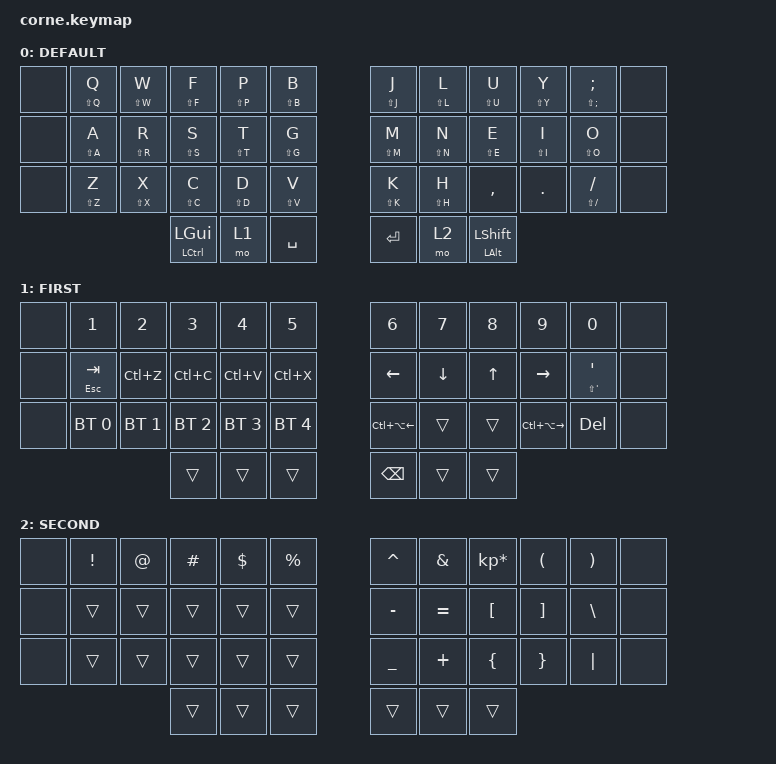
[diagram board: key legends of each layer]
/*
 * Copyright (c) 2020 The ZMK Contributors
 *
 * SPDX-License-Identifier: MIT
 */

#include <behaviors.dtsi>
#include <dt-bindings/zmk/keys.h>
#include <dt-bindings/zmk/bt.h>

#define DEFAULT 0
#define FIRST   1
#define SECOND   2
#define COLEMAK 3

#define MO_TOG(layer) &mo_tog layer layer   // Macro to apply momentary-layer-on-hold/toggle-layer-on-tap to a specific layer


/ {
        behaviors {
        pht: positional_hold_tap {
            compatible = "zmk,behavior-hold-tap";
            label = "POSITIONAL_HOLD_TAP";
            #binding-cells = <2>;
            flavor = "hold-preferred";
            tapping-term-ms = <400>;
            quick-tap-ms = <200>;
            bindings = <&kp>, <&kp>;
            hold-trigger-key-positions = <1>;    // <---[[the W key]]
        };

        mo_tog: behavior_mo_tog {
            compatible = "zmk,behavior-hold-tap";
            label = "mo_tog";
            #binding-cells = <2>;
            flavor = "hold-preferred";
            tapping-term-ms = <200>;
            bindings = <&mo>, <&tog>;
        };
    };
        keymap {
                compatible = "zmk,keymap";

//                DEFAULT {
// -----------------------------------------------------------------------------------------
// |      |  Q  |  W  |  E  |  R  |  T  |   |  Y  |  U   |  I  |  O  |  P  |      |
// |      |  A  |  S  |  D  |  F  |  G  |   |  H  |  J   |  K  |  L  |  ;  |      |
// |      |  Z  |  X  |  C  |  V  |  B  |   |  N  |  M   |  ,  |  .  |  /  |      |
//               | GUI/CTRL |FIRST| SPC |   | ENT/BKSP |SECOND| ALT/SHFT |
//                        bindings = <
//   &none &pht LS(Q) Q &pht LS(W) W &pht LS(E) E &pht LS(R) R &pht LS(T) T   &pht LS(Y) Y &pht LS(U) U  &pht LS(I) I     &pht LS(O) O   &pht LS(P) P    &none
//   &none &pht LS(A) A &pht LS(S) S &pht LS(D) D &pht LS(F) F &pht LS(G) G   &pht LS(H) H &pht LS(J) J  &pht LS(K) K     &pht LS(L) L   &pht LS(SEMI) SEMI &none
//   &none &pht LS(Z) Z &pht LS(X) X &pht LS(C) C &pht LS(V) V &pht LS(B) B   &pht LS(N) N &pht LS(M) M  &kp COMMA &kp DOT &pht LS(FSLH) FSLH &none
//                                      &pht LCTRL LGUI MO_TOG(1) &kp SPACE   &pht BKSP RET MO_TOG(2) &pht LALT LSHFT                      
//                         >;
//                };  
                DEFAULT {
// -----------------------------------------------------------------------------------------
// |      |  Q  |  W  |  F  |  P  |  B  |   |  J  |  L   |  U  |  Y  |  ;  |      |
// |      |  A  |  R  |  S  |  T  |  G  |   |  M  |  N   |  E  |  I  |  O  |      |
// |      |  Z  |  X  |  C  |  D  |  V  |   |  K  |  H   |  ,  |  .  |  /  |      |
//               | GUI/CTRL |FIRST| SPC |   | ENT/BKSP |SECOND| ALT/SHFT |
                        bindings = <
   &none &pht LS(Q) Q &pht LS(W) W &pht LS(F) F &pht LS(P) P &pht LS(B) B   &pht LS(J) J &pht LS(L) L  &pht LS(U) U     &pht LS(Y) Y   &pht LS(SEMI) SEMI  &none
   &none &pht LS(A) A &pht LS(R) R &pht LS(S) S &pht LS(T) T &pht LS(G) G   &pht LS(M) M &pht LS(N) N  &pht LS(E) E     &pht LS(I) I   &pht LS(O) O &none
   &none &pht LS(Z) Z &pht LS(X) X &pht LS(C) C &pht LS(D) D &pht LS(V) V   &pht LS(K) K &pht LS(H) H  &kp COMMA        &kp DOT       &pht LS(FSLH) FSLH &none
                                          &pht LCTRL LGUI &mo 1 &kp SPACE   &kp RET &mo 2 &pht LALT LSHFT                      
                        >;
                };  
                FIRST {
// -----------------------------------------------------------------------------------------
// |      |  1  |  2  |  3  |  4  |  5  |         |  6  |  7  |  8  |  9  |  0  |      |
// |      |TAB/ESC| LC(Z) |LC(C)|LC(V)|LC(X)|     | LFT | DWN |  UP | RGT | '   |      |
// |      | BT1 | BT2 | BT3 | BT4 | BT5 |         |WinLFT|    |     |WinRGT|     | DEL |
//                    |     |     |     |         | BKSP |     |    |
                        bindings = <
   &none    &kp N1       &kp N2       &kp N3       &kp N4       &kp N5               &kp N6   &kp N7   &kp N8 &kp N9    &kp N0 &none
   &none    &pht ESC TAB      &kp LC(Z)      &kp LC(C)   &kp LC(V)  &kp LC(X)        &kp LEFT &kp DOWN &kp UP &kp RIGHT &pht LS(SQT) SQT &none
   &none &bt BT_SEL 0 &bt BT_SEL 1 &bt BT_SEL 2 &bt BT_SEL 3 &bt BT_SEL 4            &kp LC(LA(LEFT))   &trans   &trans &kp LC(LA(RIGHT))  &kp DEL &none
                          	               &trans     &trans       &trans            &kp BKSP  &trans   &trans
                        >;
                };
                SECOND {
// -----------------------------------------------------------------------------------------
// |      |  !  |  @  |  #  |  $  |  %  |   |  ^  |  &  |  *  |  (  |  )  |      |
// |      |     |     |     |     |     |   |  -  |  =  |  [  |  ]  |  \  |      |
// |      |     |     |     |     |     |   |  _  |  +  |  {  |  }  | "|" |      |
//                  |       |     |     |   |     |     |     |
                        bindings = <
   &none  &kp EXCL &kp AT &kp HASH &kp DLLR &kp PRCNT  &kp CARET &kp AMPS  &kp KP_MULTIPLY &kp LPAR &kp RPAR &none
   &none &trans   &trans &trans   &trans   &trans      &kp MINUS &kp EQUAL &kp LBKT        &kp RBKT &kp BSLH &none
   &none &trans   &trans &trans   &trans   &trans      &kp UNDER &kp PLUS  &kp LBRC        &kp RBRC &kp PIPE &none
                    	  &trans &trans   &trans       &trans   &trans    &trans
                        >;
                };
        };
};
